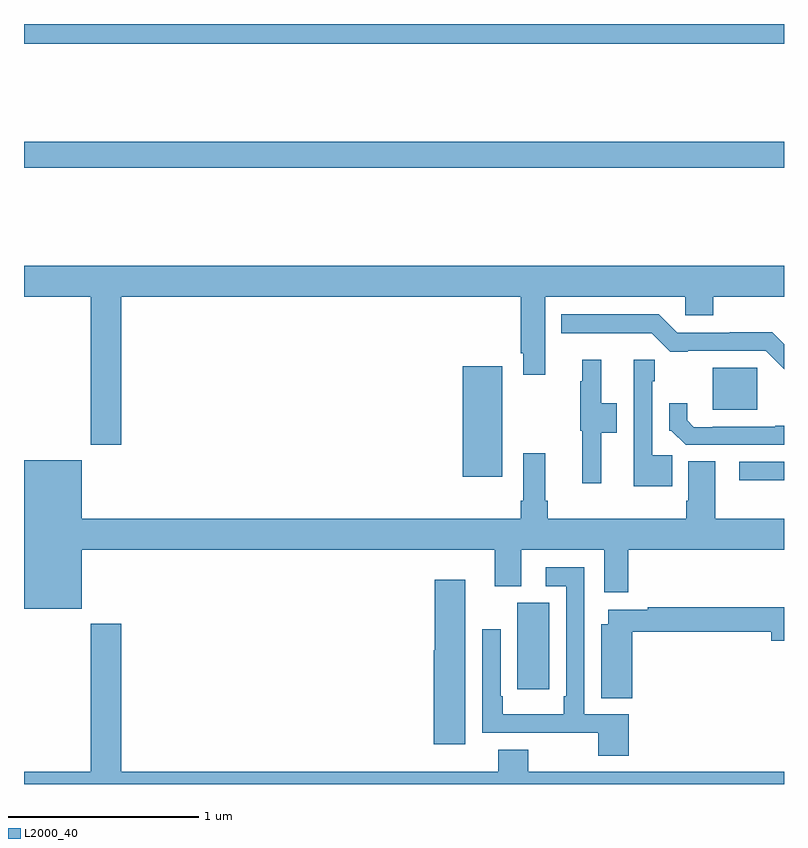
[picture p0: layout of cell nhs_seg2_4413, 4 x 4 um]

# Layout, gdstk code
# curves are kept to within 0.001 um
import gdstk
lib = gdstk.Library(unit=1e-6, precision=1e-09)
def R(c, l, rs):  # rectangles x0, y0, x1, y1
    for r in rs: c.add(gdstk.rectangle(r[:2], r[2:], *l))
def P(c, l, *ps):  # polygons
    for p in ps: c.add(gdstk.Polygon(p, *l))
L2000_40 = (2000, 40)

nhs_seg2_4413 = lib.new_cell('nhs_seg2_4413')
R(nhs_seg2_4413, L2000_40, [(353.597,584.298,353.764,584.755), (354.765,585.398,355,585.495), (353.309,585.416,353.518,586), (354.626,585.77,354.86,585.991), (351,587.044,355,587.18), (351,587.696,355,587.8)])
P(nhs_seg2_4413, L2000_40, [(351.512,586.364),(353.615,586.364),(353.615,586.066),(353.627,586.066),(353.627,585.954),(353.743,585.954),(353.743,586.364),(354.48,586.364),(354.48,586.266),(354.627,586.266),(354.627,586.364),(355,586.364),(355,586.528),(351,586.528),(351,586.364),(351.352,586.364),(351.352,585.585),(351.512,585.585)],
  [(355,586.115),(354.938,586.178),(354.715,586.178),(354.715,586.176),(354.438,586.176),(354.341,586.273),(353.828,586.273),(353.828,586.172),(354.303,586.173),(354.401,586.075),(354.493,586.075),(354.493,586.08),(354.903,586.08),(355,585.983)],
  [(354.037,585.649),(354.121,585.649),(354.121,585.804),(354.037,585.804),(354.037,586.033),(353.939,586.033),(353.939,585.92),(353.928,585.92),(353.928,585.66),(353.939,585.66),(353.939,585.384),(354.037,585.384)],
  [(354.412,585.529),(354.306,585.529),(354.306,585.92),(354.319,585.92),(354.319,586.033),(354.21,586.033),(354.21,585.368),(354.412,585.368)],
  [(355,585.686),(354.955,585.686),(354.955,585.681),(354.625,585.681),(354.625,585.678),(354.526,585.678),(354.491,585.714),(354.491,585.805),(354.396,585.805),(354.396,585.66),(354.407,585.66),(354.482,585.585),(355,585.585)],
  [(351.304,585.505),(351,585.505),(351,584.723),(351.304,584.723),(351.304,585.032),(353.477,585.032),(353.477,584.84),(353.617,584.84),(353.617,585.032),(354.053,585.032),(354.053,584.808),(354.179,584.808),(354.179,585.032),(355,585.032),(355,585.196),(354.637,585.196),(354.637,585.5),(354.497,585.5),(354.497,585.292),(354.485,585.292),(354.485,585.196),(353.756,585.196),(353.756,585.292),(353.743,585.292),(353.743,585.541),(353.627,585.541),(353.627,585.292),(353.615,585.292),(353.615,585.196),(351.304,585.196)],
  [(354.182,584.166),(353.949,584.166),(353.949,584.941),(353.745,584.941),(353.745,584.84),(353.853,584.84),(353.853,584.263),(353.841,584.263),(353.841,584.167),(353.521,584.167),(353.521,584.263),(353.508,584.263),(353.508,584.614),(353.412,584.614),(353.412,584.07),(353.756,584.07),(353.756,584.069),(354.022,584.069),(354.022,583.95),(354.182,583.95)],
  [(353.323,584.875),(353.162,584.875),(353.162,584.505),(353.156,584.505),(353.156,584.01),(353.323,584.01)],
  [(354.2,584.602),(354.932,584.602),(354.932,584.555),(355,584.555),(355,584.731),(354.283,584.731),(354.283,584.718),(354.074,584.718),(354.074,584.641),(354.038,584.641),(354.038,584.251),(354.2,584.251)],
  [(355,583.864),(353.655,583.864),(353.655,583.981),(353.495,583.981),(353.495,583.864),(351.512,583.864),(351.512,584.644),(351.352,584.644),(351.352,583.864),(351,583.864),(351,583.8),(355,583.8)])

lib.write_gds('nhs_seg2_4413.gds')
